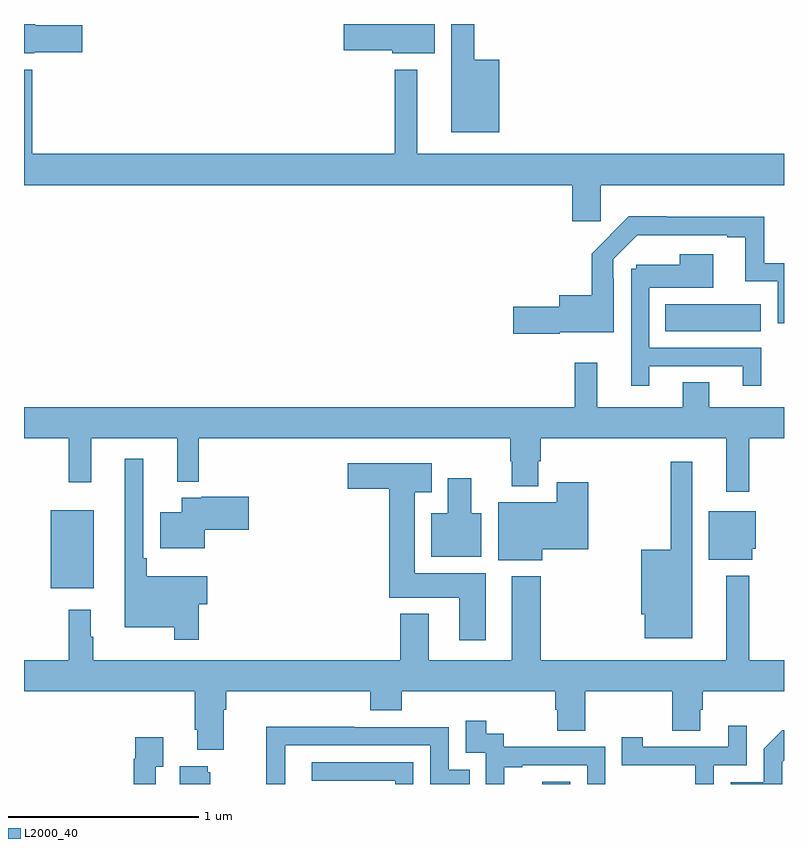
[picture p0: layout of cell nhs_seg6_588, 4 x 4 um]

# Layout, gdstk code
import gdstk
lib = gdstk.Library(unit=1e-6, precision=1e-09)
def R(c, l, rs):  # rectangles x0, y0, x1, y1
    for r in rs: c.add(gdstk.rectangle(r[:2], r[2:], *l))
def P(c, l, *ps):  # polygons
    for p in ps: c.add(gdstk.Polygon(p, *l))
L2000_40 = (2000, 40)

nhs_seg6_588 = lib.new_cell('nhs_seg6_588')
R(nhs_seg6_588, L2000_40, [(149.727,961.5,149.874,961.513), (147.14,962.531,147.367,962.941), (150.376,963.884,150.877,964.024)])
P(nhs_seg6_588, L2000_40, [(149.161,965.5),(148.682,965.5),(148.682,965.363),(148.938,965.363),(148.938,965.345),(149.161,965.345)],
  [(149.5,965.311),(149.371,965.311),(149.371,965.5),(149.249,965.5),(149.249,964.931),(149.5,964.931)],
  [(147.054,965.351),(147.307,965.351),(147.307,965.493),(147.058,965.493),(147.058,965.5),(147,965.5),(147,965.345),(147.054,965.345)],
  [(150.035,964.652),(151,964.652),(151,964.816),(149.071,964.816),(149.071,965.26),(148.95,965.26),(148.95,964.816),(147.043,964.816),(147.043,965.26),(147,965.26),(147,964.652),(149.885,964.652),(149.885,964.461),(150.035,964.461)],
  [(149.82,963.878),(150.105,963.878),(150.105,964.163),(150.102,964.163),(150.102,964.263),(150.228,964.389),(150.701,964.389),(150.701,964.377),(150.797,964.377),(150.797,964.146),(150.966,964.146),(150.966,963.924),(151,963.924),(151,964.242),(150.895,964.242),(150.895,964.486),(150.383,964.486),(150.383,964.489),(150.184,964.489),(149.987,964.291),(149.987,964.072),(149.816,964.072),(149.816,964.013),(149.574,964.013),(149.574,963.871),(149.82,963.871)],
  [(150.292,963.699),(150.782,963.699),(150.782,963.597),(150.88,963.597),(150.88,963.795),(150.291,963.795),(150.291,964.112),(150.628,964.112),(150.628,964.288),(150.452,964.288),(150.452,964.234),(150.222,964.234),(150.222,964.212),(150.195,964.212),(150.195,963.597),(150.292,963.597)],
  [(150.817,963.32),(151,963.32),(151,963.484),(150.607,963.484),(150.607,963.614),(150.467,963.614),(150.467,963.484),(150.017,963.484),(150.017,963.718),(149.899,963.718),(149.899,963.484),(147,963.484),(147,963.32),(147.235,963.32),(147.235,963.087),(147.353,963.087),(147.353,963.32),(147.806,963.32),(147.806,963.092),(147.919,963.092),(147.919,963.32),(149.56,963.32),(149.56,963.2),(149.567,963.2),(149.567,963.068),(149.707,963.068),(149.707,963.2),(149.72,963.2),(149.72,963.32),(150.695,963.32),(150.695,963.039),(150.817,963.039)],
  [(147.92,962.446),(147.964,962.446),(147.964,962.593),(147.647,962.593),(147.647,962.689),(147.627,962.689),(147.627,963.211),(147.53,963.211),(147.53,962.324),(147.792,962.324),(147.792,962.259),(147.92,962.259)],
  [(150.517,963.196),(150.403,963.196),(150.403,962.734),(150.248,962.734),(150.248,962.394),(150.266,962.394),(150.266,962.267),(150.517,962.267)],
  [(149.431,962.608),(149.056,962.608),(149.056,963.035),(149.146,963.035),(149.146,963.187),(148.704,963.187),(148.704,963.053),(148.922,963.053),(148.922,962.48),(149.291,962.48),(149.291,962.256),(149.431,962.256)],
  [(149.407,962.926),(149.353,962.926),(149.353,963.109),(149.231,963.109),(149.231,962.926),(149.144,962.926),(149.144,962.696),(149.407,962.696)],
  [(149.728,962.735),(149.97,962.735),(149.97,963.088),(149.804,963.088),(149.804,962.983),(149.495,962.983),(149.495,962.678),(149.728,962.678)],
  [(147.952,962.837),(148.183,962.837),(148.183,963.012),(147.934,963.012),(147.934,963.007),(147.83,963.007),(147.83,962.929),(147.716,962.929),(147.716,962.741),(147.952,962.741)],
  [(150.832,962.739),(150.85,962.739),(150.85,962.935),(150.605,962.935),(150.605,962.681),(150.832,962.681)],
  [(147.235,962.416),(147.235,962.152),(147,962.152),(147,961.988),(147.899,961.988),(147.899,961.786),(147.911,961.786),(147.911,961.679),(148.051,961.679),(148.051,961.892),(148.064,961.892),(148.064,961.988),(148.823,961.988),(148.823,961.889),(148.988,961.889),(148.988,961.988),(149.795,961.988),(149.795,961.89),(149.807,961.89),(149.807,961.78),(149.955,961.78),(149.955,961.988),(150.412,961.988),(150.412,961.78),(150.559,961.78),(150.559,961.89),(150.572,961.89),(150.572,961.988),(151,961.988),(151,962.152),(150.817,962.152),(150.817,962.596),(150.695,962.596),(150.695,962.152),(149.72,962.152),(149.72,962.593),(149.567,962.593),(149.567,962.152),(149.131,962.152),(149.131,962.395),(148.979,962.395),(148.979,962.152),(147.364,962.152),(147.364,962.276),(147.352,962.276),(147.352,962.416)],
  [(149.528,961.587),(149.623,961.587),(149.623,961.599),(149.964,961.599),(149.964,961.5),(150.06,961.5),(150.06,961.695),(149.526,961.695),(149.526,961.764),(149.434,961.764),(149.434,961.834),(149.325,961.834),(149.325,961.665),(149.43,961.665),(149.43,961.5),(149.528,961.5)],
  [(150.63,961.599),(150.804,961.599),(150.804,961.807),(150.707,961.807),(150.707,961.695),(150.256,961.695),(150.256,961.747),(150.145,961.747),(150.145,961.599),(150.534,961.599),(150.534,961.5),(150.63,961.5)],
  [(148.374,961.704),(149.139,961.704),(149.139,961.5),(149.345,961.5),(149.345,961.575),(149.235,961.575),(149.235,961.8),(148.739,961.8),(148.739,961.802),(148.276,961.802),(148.276,961.5),(148.374,961.5)],
  [(150.99,961.614),(151,961.624),(151,961.784),(150.992,961.784),(150.894,961.686),(150.894,961.509),(150.72,961.509),(150.72,961.5),(150.99,961.5)],
  [(147.693,961.591),(147.733,961.591),(147.733,961.747),(147.585,961.747),(147.585,961.634),(147.577,961.634),(147.577,961.5),(147.693,961.5)],
  [(149.049,961.614),(148.515,961.614),(148.515,961.518),(148.953,961.518),(148.953,961.5),(149.049,961.5)],
  [(147.979,961.563),(147.968,961.563),(147.968,961.594),(147.821,961.594),(147.821,961.5),(147.979,961.5)])

lib.write_gds('nhs_seg6_588.gds')
